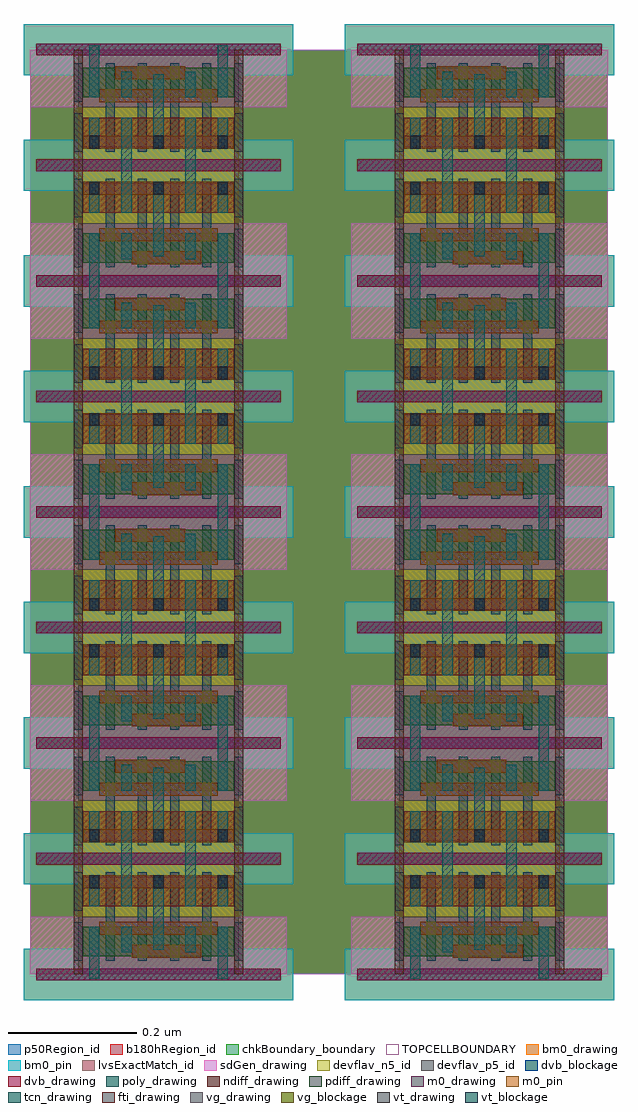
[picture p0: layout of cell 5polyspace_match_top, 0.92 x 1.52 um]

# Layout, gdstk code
from math import pi, radians
import gdstk
lib = gdstk.Library(unit=1e-6, precision=5e-10)
def R(c, l, rs):  # rectangles x0, y0, x1, y1
    for r in rs: c.add(gdstk.rectangle(r[:2], r[2:], *l))
def A(c, l, x, y, w, h, nx, ny, dx, dy):  # array of equal rectangles
    R(c, l, [(x+i*dx, y+j*dy, x+i*dx+w, y+j*dy+h) for i in range(nx) for j in range(ny)])
ndiff_drawing = (1, 0)
poly_drawing = (2, 0)
tcn_drawing = (5, 0)
pdiff_drawing = (8, 0)
sdGen_drawing = (11, 0)
vt_drawing = (31, 0)
vt_blockage = (31, 1)
vg_drawing = (32, 0)
vg_blockage = (32, 1)
chkBoundary_boundary = (50, 0)
TOPCELLBOUNDARY = (50, 99)
m0_drawing = (55, 0)
m0_pin = (55, 2)
lvsExactMatch_id = (81, 434)
b180hRegion_id = (82, 137)
p50Region_id = (82, 420)
fti_drawing = (184, 0)
devflav_n5_id = (273, 170)
devflav_p5_id = (273, 171)
bm0_drawing = (366, 0)
bm0_pin = (366, 2)
dvb_drawing = (474, 0)
dvb_blockage = (474, 1)

ibmnorp02aa1n04x5 = lib.new_cell('ibmnorp02aa1n04x5')
R(ibmnorp02aa1n04x5, ndiff_drawing, [(0.007,0.028,0.243,0.074)])
A(ibmnorp02aa1n04x5, poly_drawing, 0.043, 0.021, 0.014, 0.138, 4, 1, 0.05, 0)
R(ibmnorp02aa1n04x5, poly_drawing, [(-0.007,0.021,0.007,0.081), (0.243,0.021,0.257,0.081), (-0.007,0.099,0.007,0.159), (0.243,0.099,0.257,0.159)])
R(ibmnorp02aa1n04x5, tcn_drawing, [(0.067,-0.007,0.083,0.074), (0.167,-0.007,0.183,0.074), (0.017,0.026,0.033,0.074), (0.117,0.026,0.133,0.142), (0.217,0.026,0.233,0.074), (0.017,0.106,0.033,0.187), (0.067,0.106,0.083,0.146), (0.167,0.106,0.183,0.146), (0.217,0.106,0.233,0.187)])
R(ibmnorp02aa1n04x5, pdiff_drawing, [(0.007,0.106,0.243,0.152)])
R(ibmnorp02aa1n04x5, sdGen_drawing, [(-0.075,0.09,0.325,0.18)])
A(ibmnorp02aa1n04x5, vt_drawing, 0.017, 0.026, 0.016, 0.02, 3, 1, 0.1, 0)
A(ibmnorp02aa1n04x5, vt_blockage, 0.017, 0.026, 0.016, 0.02, 3, 1, 0.1, 0)
R(ibmnorp02aa1n04x5, vg_drawing, [(0.043,0.098,0.057,0.118), (0.193,0.098,0.207,0.118), (0.093,0.134,0.107,0.154), (0.143,0.134,0.157,0.154)])
R(ibmnorp02aa1n04x5, vg_blockage, [(0.043,0.098,0.057,0.118), (0.193,0.098,0.207,0.118), (0.093,0.134,0.107,0.154), (0.143,0.134,0.157,0.154)])
R(ibmnorp02aa1n04x5, chkBoundary_boundary, [(0,0,0.25,0.18)])
R(ibmnorp02aa1n04x5, m0_drawing, [(0.008,0.026,0.242,0.046), (0.033,0.098,0.217,0.118), (0.058,0.134,0.167,0.154)])
R(ibmnorp02aa1n04x5, m0_pin, [(0.008,0.026,0.242,0.046), (0.033,0.098,0.217,0.118), (0.058,0.134,0.167,0.154)])
R(ibmnorp02aa1n04x5, lvsExactMatch_id, [(0,0,0.25,0.18)])
R(ibmnorp02aa1n04x5, b180hRegion_id, [(-0.025,0,0.275,0.18)])
R(ibmnorp02aa1n04x5, p50Region_id, [(-0.025,0,0.275,0.18)])
R(ibmnorp02aa1n04x5, fti_drawing, [(-0.007,0,0.007,0.18), (0.243,0,0.257,0.18)])
R(ibmnorp02aa1n04x5, devflav_n5_id, [(0,0,0.25,0.09)])
R(ibmnorp02aa1n04x5, devflav_p5_id, [(0,0.09,0.25,0.18)])
R(ibmnorp02aa1n04x5, bm0_drawing, [(-0.085,-0.04,0.335,0.04), (-0.085,0.14,0.335,0.22)])
R(ibmnorp02aa1n04x5, bm0_pin, [(-0.085,-0.04,0.335,0.04), (-0.085,0.14,0.335,0.22)])
R(ibmnorp02aa1n04x5, dvb_drawing, [(-0.0655,-0.009,0.3155,0.009), (-0.0655,0.171,0.3155,0.189)])
R(ibmnorp02aa1n04x5, dvb_blockage, [(-0.0655,-0.009,0.3155,0.009), (-0.0655,0.171,0.3155,0.189)])
ibmnorp02aa1n04x5.add(gdstk.Label('a', (0.1,0.09), layer=2, texttype=0))
ibmnorp02aa1n04x5.add(gdstk.Label('a', (0.15,0.09), layer=2, texttype=0))
ibmnorp02aa1n04x5.add(gdstk.Label('b', (0.2,0.09), layer=2, texttype=0))
ibmnorp02aa1n04x5.add(gdstk.Label('b', (0.05,0.09), layer=2, texttype=0))
ibmnorp02aa1n04x5.add(gdstk.Label('o1', (0.125,0.084), layer=5, texttype=0))
ibmnorp02aa1n04x5.add(gdstk.Label('vcc', (0.225,0.1465), layer=5, texttype=0))
ibmnorp02aa1n04x5.add(gdstk.Label('vssx', (0.175,0.0335), layer=5, texttype=0))
ibmnorp02aa1n04x5.add(gdstk.Label('o1', (0.225,0.05), layer=5, texttype=0))
ibmnorp02aa1n04x5.add(gdstk.Label('o1', (0.025,0.05), layer=5, texttype=0))
ibmnorp02aa1n04x5.add(gdstk.Label('g0|n1a', (0.175,0.126), layer=5, texttype=0))
ibmnorp02aa1n04x5.add(gdstk.Label('g0|n1b', (0.075,0.126), layer=5, texttype=0))
ibmnorp02aa1n04x5.add(gdstk.Label('vssx', (0.075,0.0335), layer=5, texttype=0))
ibmnorp02aa1n04x5.add(gdstk.Label('vcc', (0.025,0.1465), layer=5, texttype=0))
ibmnorp02aa1n04x5.add(gdstk.Label('a', (0.1125,0.144), layer=55, texttype=0))
ibmnorp02aa1n04x5.add(gdstk.Label('o1', (0.125,0.036), layer=55, texttype=0))
ibmnorp02aa1n04x5.add(gdstk.Label('b', (0.125,0.108), layer=55, texttype=0))
ibmnorp02aa1n04x5.add(gdstk.Label('o1', (0.125,0.036), layer=55, texttype=0))
ibmnorp02aa1n04x5.add(gdstk.Label('a', (0.1125,0.144), layer=55, texttype=0))
ibmnorp02aa1n04x5.add(gdstk.Label('b', (0.125,0.108), layer=55, texttype=0))
ibmnorp02aa1n04x5.add(gdstk.Label('a', (0.1125,0.144), layer=55, texttype=2))
ibmnorp02aa1n04x5.add(gdstk.Label('o1', (0.125,0.036), layer=55, texttype=2))
ibmnorp02aa1n04x5.add(gdstk.Label('b', (0.125,0.108), layer=55, texttype=2))
ibmnorp02aa1n04x5.add(gdstk.Label('vssx', (0.125,0), layer=366, texttype=0))
ibmnorp02aa1n04x5.add(gdstk.Label('vcc', (0.125,0.18), layer=366, texttype=0))
ibmnorp02aa1n04x5.add(gdstk.Label('vcc', (0.125,0.18), layer=366, texttype=0))
ibmnorp02aa1n04x5.add(gdstk.Label('vssx', (0.125,0), layer=366, texttype=0))
ibmnorp02aa1n04x5.add(gdstk.Label('vssx', (0.125,0), layer=366, texttype=2))
ibmnorp02aa1n04x5.add(gdstk.Label('vcc', (0.125,0.18), layer=366, texttype=2))

c_5polyspace_match_top = lib.new_cell('5polyspace_match_top')
R(c_5polyspace_match_top, chkBoundary_boundary, [(0,0,0.9,1.44)])
R(c_5polyspace_match_top, TOPCELLBOUNDARY, [(0,0,0.9,1.44)])
R(c_5polyspace_match_top, b180hRegion_id, [(0,0,0.9,1.44)])
R(c_5polyspace_match_top, p50Region_id, [(0,0,0.9,1.44)])
c_5polyspace_match_top.add(gdstk.Reference(ibmnorp02aa1n04x5, (0.075,0.54)))
c_5polyspace_match_top.add(gdstk.Reference(ibmnorp02aa1n04x5, (0.075,0.18)))
c_5polyspace_match_top.add(gdstk.Reference(ibmnorp02aa1n04x5, (0.825,0.18), rotation=pi))
c_5polyspace_match_top.add(gdstk.Reference(ibmnorp02aa1n04x5, (0.325,0.18), rotation=pi))
c_5polyspace_match_top.add(gdstk.Reference(ibmnorp02aa1n04x5, (0.575,0.18)))
c_5polyspace_match_top.add(gdstk.Reference(ibmnorp02aa1n04x5, (0.825,0.54), rotation=pi))
c_5polyspace_match_top.add(gdstk.Reference(ibmnorp02aa1n04x5, (0.325,0.54), rotation=pi))
c_5polyspace_match_top.add(gdstk.Reference(ibmnorp02aa1n04x5, (0.575,0.54)))
c_5polyspace_match_top.add(gdstk.Reference(ibmnorp02aa1n04x5, (0.075,0.9)))
c_5polyspace_match_top.add(gdstk.Reference(ibmnorp02aa1n04x5, (0.825,0.9), rotation=pi))
c_5polyspace_match_top.add(gdstk.Reference(ibmnorp02aa1n04x5, (0.325,0.9), rotation=pi))
c_5polyspace_match_top.add(gdstk.Reference(ibmnorp02aa1n04x5, (0.575,0.9)))
c_5polyspace_match_top.add(gdstk.Reference(ibmnorp02aa1n04x5, (0.825,1.26), rotation=pi))
c_5polyspace_match_top.add(gdstk.Reference(ibmnorp02aa1n04x5, (0.325,1.26), rotation=pi))
c_5polyspace_match_top.add(gdstk.Reference(ibmnorp02aa1n04x5, (0.575,1.26)))
c_5polyspace_match_top.add(gdstk.Reference(ibmnorp02aa1n04x5, (0.075,1.26)))

lib.write_gds('5polyspace_match_top.gds')
